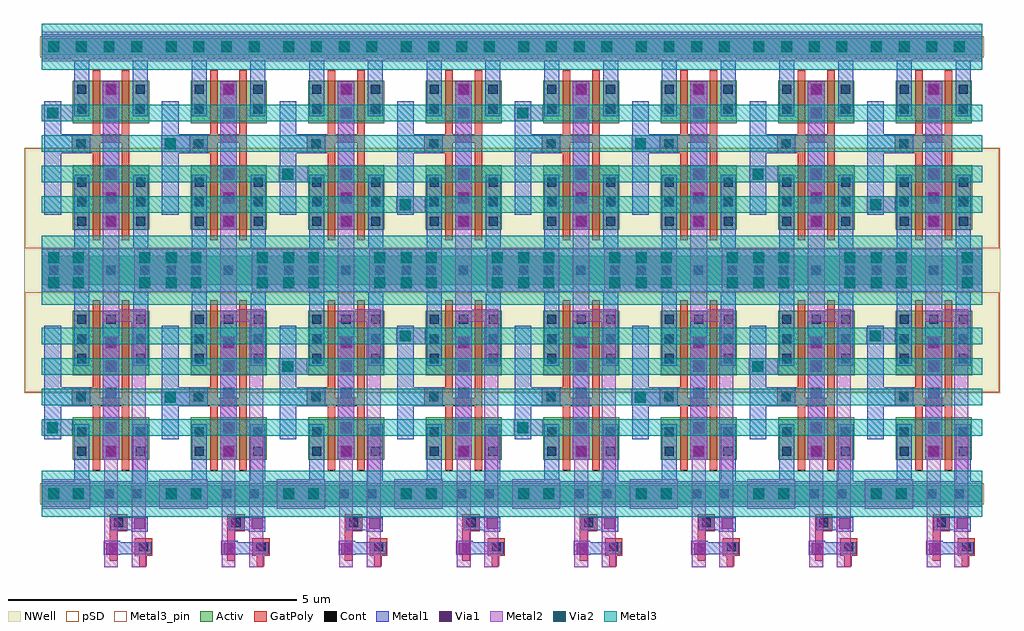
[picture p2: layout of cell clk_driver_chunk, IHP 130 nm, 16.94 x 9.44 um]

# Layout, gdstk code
import gdstk
lib = gdstk.Library(unit=1e-6, precision=1e-09)
def R(c, l, rs):  # rectangles x0, y0, x1, y1
    for r in rs: c.add(gdstk.rectangle(r[:2], r[2:], *l))
def A(c, l, x, y, w, h, nx, ny, dx, dy):  # array of equal rectangles
    R(c, l, [(x+i*dx, y+j*dy, x+i*dx+w, y+j*dy+h) for i in range(nx) for j in range(ny)])
def P(c, l, *ps):  # polygons
    for p in ps: c.add(gdstk.Polygon(p, *l))
Activ = (1, 0)
GatPoly = (5, 0)
Cont = (6, 0)
Metal1 = (8, 0)
Metal2 = (10, 0)
pSD = (14, 0)
Via1 = (19, 0)
Via2 = (29, 0)
Metal3 = (30, 0)
Metal3_pin = (30, 2)
NWell = (31, 0)

clk_driver_element = lib.new_cell('clk_driver_element')
R(clk_driver_element, Activ, [(0,0,2.04,0.3), (0.54,0.74,1.86,1.48), (0.54,2.21,1.865,3.33), (0,3.78,2.04,4.28), (0.54,4.73,1.865,5.85), (0.54,6.58,1.86,7.32), (0,7.76,2.04,8.06)])
P(clk_driver_element, GatPoly, [(0.88,4.55),(0.88,6.06),(0.52,6.06),(0.52,6.39),(0.88,6.39),(0.88,7.5),(1.01,7.5),(1.01,6.39),(1.39,6.39),(1.39,7.5),(1.52,7.5),(1.52,4.55),(1.39,4.55),(1.39,6.24),(1.01,6.24),(1.01,4.55)],
  [(0.88,0.56),(0.88,1.67),(0.52,1.67),(0.52,2),(0.88,2),(0.88,3.51),(1.01,3.51),(1.01,1.82),(1.39,1.82),(1.39,3.51),(1.52,3.51),(1.52,0.56),(1.39,0.56),(1.39,1.67),(1.01,1.67),(1.01,0.56)],
  [(1.69,-1.105),(1.69,-0.925),(1.615,-0.925),(1.615,-0.62),(1.915,-0.62),(1.915,-0.925),(1.82,-0.925),(1.82,-1.105)],
  [(1.18,-1.015),(1.18,-0.2),(1.48,-0.2),(1.48,-0.5),(1.31,-0.5),(1.31,-1.015)])
A(clk_driver_element, Cont, 0.61, 0.81, 0.16, 0.16, 3, 2, 0.51, 6.28)
A(clk_driver_element, Cont, 0.61, 2.42, 0.16, 0.16, 1, 3, 0, 0.34)
A(clk_driver_element, Cont, 1.635, 2.42, 0.16, 0.16, 1, 3, 0, 0.34)
A(clk_driver_element, Cont, 0.61, 4.8, 0.16, 0.16, 1, 3, 0, 0.34)
A(clk_driver_element, Cont, 1.12, 4.8, 0.16, 0.16, 1, 3, 0, 0.41)
A(clk_driver_element, Cont, 1.635, 4.8, 0.16, 0.16, 1, 3, 0, 0.34)
A(clk_driver_element, Cont, 0.125, 7.83, 0.16, 0.16, 4, 1, 0.48, 0)
R(clk_driver_element, Cont, [(1.685,-0.85,1.845,-0.69), (1.25,-0.43,1.41,-0.27), (0.125,0.07,0.285,0.23), (0.555,0.07,0.715,0.23), (1.085,0.07,1.245,0.23), (1.565,0.07,1.725,0.23), (0.61,1.15,0.77,1.31), (1.63,1.15,1.79,1.31), (1.12,1.22,1.28,1.38), (0.6,1.76,0.76,1.92), (1.12,2.285,1.28,2.445), (1.12,2.695,1.28,2.855), (1.12,3.1,1.28,3.26), (0.125,3.95,0.285,4.11), (0.555,3.95,0.715,4.11), (1.115,3.95,1.275,4.11), (1.705,3.95,1.865,4.11), (0.6,6.145,0.76,6.305), (1.12,6.68,1.28,6.84), (0.61,6.75,0.77,6.91), (1.63,6.75,1.79,6.91)])
R(clk_driver_element, Metal1, [(1.055,0.745,1.345,3.33), (1.055,4.73,1.345,7.315)])
P(clk_driver_element, Metal1, [(0.045,1.095),(0.045,3.065),(0.335,3.065),(0.335,2),(0.84,2),(0.84,1.67),(0.335,1.67),(0.335,1.095)],
  [(0.56,2.37),(0.56,3.66),(0,3.66),(0,4.4),(0.56,4.4),(0.56,5.69),(0.82,5.69),(0.82,4.4),(1.585,4.4),(1.585,5.69),(1.845,5.69),(1.845,4.4),(2.04,4.4),(2.04,3.66),(1.845,3.66),(1.845,2.37),(1.585,2.37),(1.585,3.66),(0.82,3.66),(0.82,2.37)],
  [(0.045,4.995),(0.045,6.965),(0.335,6.965),(0.335,6.39),(0.84,6.39),(0.84,6.06),(0.335,6.06),(0.335,4.995)],
  [(1.55,-0.51),(1.55,-0.48),(1.2,-0.48),(1.2,-0.26),(1.84,-0.26),(1.84,-0.51)],
  [(1.07,-0.91),(1.07,-0.66),(1.36,-0.66),(1.36,-0.69),(1.895,-0.69),(1.895,-0.9),(1.36,-0.9),(1.36,-0.91)],
  [(0,-0.07),(0,0.37),(0.56,0.37),(0.56,1.36),(0.82,1.36),(0.82,0.37),(1.58,0.37),(1.58,1.36),(1.84,1.36),(1.84,0.37),(2.04,0.37),(2.04,-0.07)],
  [(0.56,6.7),(0.56,7.69),(0,7.69),(0,8.13),(2.04,8.13),(2.04,7.69),(1.84,7.69),(1.84,6.7),(1.58,6.7),(1.58,7.69),(0.82,7.69),(0.82,6.7)])
R(clk_driver_element, Metal2, [(0,-0.11,0.84,0.405), (0,3.66,0.82,4.4), (1.6,3.66,2.04,4.4), (0,7.655,2.04,8.17)])
P(clk_driver_element, Metal2, [(1.08,-1.125),(1.08,0.745),(1.055,0.745),(1.055,2.88),(1.345,2.88),(1.345,0.745),(1.32,0.745),(1.32,-1.125)],
  [(1.56,-1.125),(1.56,3.135),(1.055,3.135),(1.055,7.315),(1.345,7.315),(1.345,3.355),(1.8,3.355),(1.8,-1.125)])
R(clk_driver_element, pSD, [(-0.03,-0.03,2.07,0.33), (-0.3,1.91,2.335,3.65), (-0.3,4.41,2.335,6.15), (-0.03,7.73,2.07,8.09)])
A(clk_driver_element, Via1, 1.105, 4.785, 0.19, 0.19, 1, 3, 0, 0.41)
A(clk_driver_element, Via1, 0.11, 7.815, 0.19, 0.19, 4, 1, 0.48, 0)
R(clk_driver_element, Via1, [(1.12,-0.9,1.31,-0.71), (1.6,-0.46,1.79,-0.27), (0.11,0.055,0.3,0.245), (0.54,0.055,0.73,0.245), (1.105,0.795,1.295,0.985), (1.105,1.205,1.295,1.395), (1.105,1.805,1.295,1.995), (1.105,2.27,1.295,2.46), (1.105,2.68,1.295,2.87), (0.11,3.72,0.3,3.91), (0.54,3.72,0.73,3.91), (1.69,3.72,1.88,3.91), (0.11,4.15,0.3,4.34), (0.54,4.15,0.73,4.34), (1.69,4.15,1.88,4.34), (1.105,6.665,1.295,6.855), (1.105,7.075,1.295,7.265)])
A(clk_driver_element, Via2, 0.11, 7.815, 0.19, 0.19, 4, 1, 0.48, 0)
R(clk_driver_element, Via2, [(0.11,0.055,0.3,0.245), (0.54,0.055,0.73,0.245), (0.11,3.72,0.3,3.91), (0.54,3.72,0.73,3.91), (1.69,3.72,1.88,3.91), (0.11,4.15,0.3,4.34), (0.54,4.15,0.73,4.34), (1.69,4.15,1.88,4.34)])
A(clk_driver_element, Metal3, 0, 1.155, 2.04, 0.29, 1, 4, 0, 0.53)
A(clk_driver_element, Metal3, 0, 5.025, 2.04, 0.29, 1, 4, 0, 0.53)
R(clk_driver_element, Metal3, [(0,-0.25,2.04,0.55), (0,3.43,2.04,4.63), (0,7.51,2.04,8.31)])
R(clk_driver_element, Metal3_pin, [(0,-0.25,2.04,0.55), (0,3.43,2.04,4.63), (0,7.51,2.04,8.31)])
R(clk_driver_element, NWell, [(-0.31,1.9,2.35,6.16)])
clk_driver_element.add(gdstk.Label('VDD', (0.045,4.565), layer=30, texttype=25))
clk_driver_element.add(gdstk.Label('VSS', (0.045,0.5), layer=30, texttype=25))
clk_driver_element.add(gdstk.Label('VSS', (0.03,8.22), layer=30, texttype=25))

clk_driver_chunk = lib.new_cell('clk_driver_chunk')
R(clk_driver_chunk, Metal2, [(0.03,1.155,0.53,1.445), (8.19,1.155,8.69,1.445), (2.07,1.685,2.57,1.975), (10.23,1.685,10.73,1.975), (4.11,2.215,4.61,2.505), (12.27,2.215,12.77,2.505), (6.15,2.745,6.65,3.035), (14.31,2.745,14.81,3.035), (6.155,5.025,6.655,5.315), (14.315,5.025,14.815,5.315), (4.115,5.555,4.615,5.845), (12.275,5.555,12.775,5.845), (2.075,6.085,2.575,6.375), (10.235,6.085,10.735,6.375), (0.03,6.615,0.53,6.905), (0.035,6.615,0.535,6.905), (8.195,6.615,8.695,6.905)])
R(clk_driver_chunk, Via1, [(0.09,1.205,0.28,1.395), (8.25,1.205,8.44,1.395), (2.13,1.735,2.32,1.925), (10.29,1.735,10.48,1.925), (4.17,2.265,4.36,2.455), (12.33,2.265,12.52,2.455), (6.21,2.795,6.4,2.985), (14.37,2.795,14.56,2.985), (6.215,5.075,6.405,5.265), (14.375,5.075,14.565,5.265), (4.175,5.605,4.365,5.795), (12.335,5.605,12.525,5.795), (2.135,6.135,2.325,6.325), (10.295,6.135,10.485,6.325), (0.095,6.665,0.285,6.855), (8.255,6.665,8.445,6.855)])
R(clk_driver_chunk, Via2, [(0.09,1.205,0.28,1.395), (8.25,1.205,8.44,1.395), (2.13,1.735,2.32,1.925), (10.29,1.735,10.48,1.925), (4.17,2.265,4.36,2.455), (12.33,2.265,12.52,2.455), (6.21,2.795,6.4,2.985), (14.37,2.795,14.56,2.985), (6.215,5.075,6.405,5.265), (14.375,5.075,14.565,5.265), (4.175,5.605,4.365,5.795), (12.335,5.605,12.525,5.795), (2.135,6.135,2.325,6.325), (10.295,6.135,10.485,6.325), (0.095,6.665,0.285,6.855), (8.255,6.665,8.445,6.855)])
r = gdstk.Reference(clk_driver_element, (0,0)); r.repetition = gdstk.Repetition(8, 1, v1=(2.04,0), v2=(0,0)); clk_driver_chunk.add(r)

lib.write_gds('clk_driver_chunk.gds')
